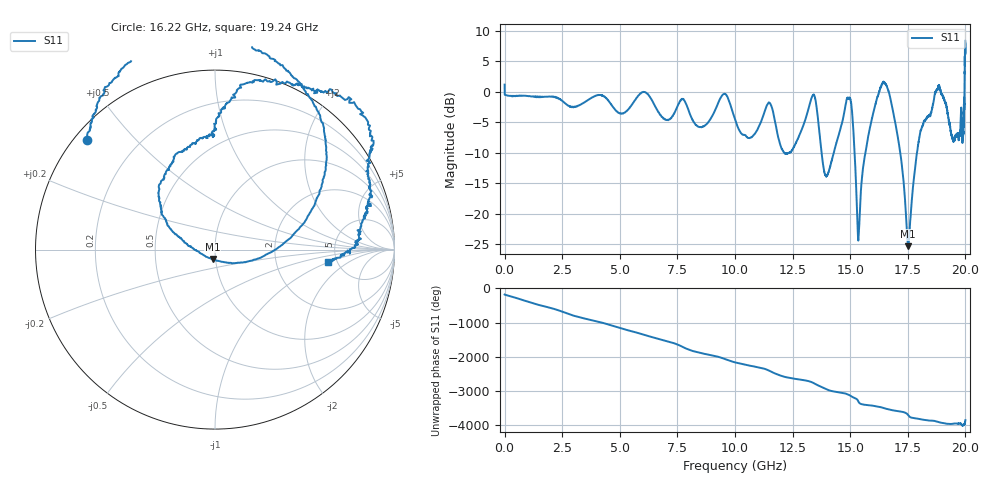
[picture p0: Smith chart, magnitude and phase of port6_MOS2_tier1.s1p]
! Created with skrf 1.8.0 (http://scikit-rf.org).
# GHz S RI R 50.0
!freq ReS11 ImS11
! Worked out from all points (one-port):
!   10001 points, 1 MHz to 20 GHz, reference 50 ohm
!   lowest |S11| = -25.3 dB at 17.51 GHz (marker M1), VSWR 1.11, Z = 48.5 - j5.13 ohm
!   |S11| at or under -10 dB: 13.76 GHz to 14.29 GHz (528.7 MHz wide, 3.77 % of centre); 15.19 GHz to 15.66 GHz (469.9 MHz wide, 3.05 % of centre); 17.17 GHz to 17.9 GHz (724 MHz wide, 4.13 % of centre) (the widest 3 of 5)
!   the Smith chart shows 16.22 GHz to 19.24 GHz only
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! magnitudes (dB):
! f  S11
! 1 MHz  1.1
! 2.501 GHz  -1.5
! 5.001 GHz  -3.6
! 6.027 GHz  0.0
! 6.975 GHz  -4.6
! 7.501 GHz  -2.5
! 8.585 GHz  -5.8
! 9.557 GHz  -0.4
! 10 GHz  -4.6
! 10.67 GHz  -7.5
! 11.5 GHz  -1.9
! 12.06 GHz  -9.6
! 12.5 GHz  -9.5
! 13.41 GHz  -0.5
! 13.99 GHz  -13.8
! 15 GHz  -1.1
! 15.37 GHz  -23.8
! 15.9 GHz  -5.3
! 16.59 GHz  0.8
! 17.15 GHz  -9.5
! 17.5 GHz  -25.0
! 17.51 GHz  -25.3
! 18.13 GHz  -5.7
! 18.83 GHz  0.8
! 19.44 GHz  -7.7
! 19.68 GHz  -6.9
! 19.86 GHz  -5.5
! 20 GHz  7.9
